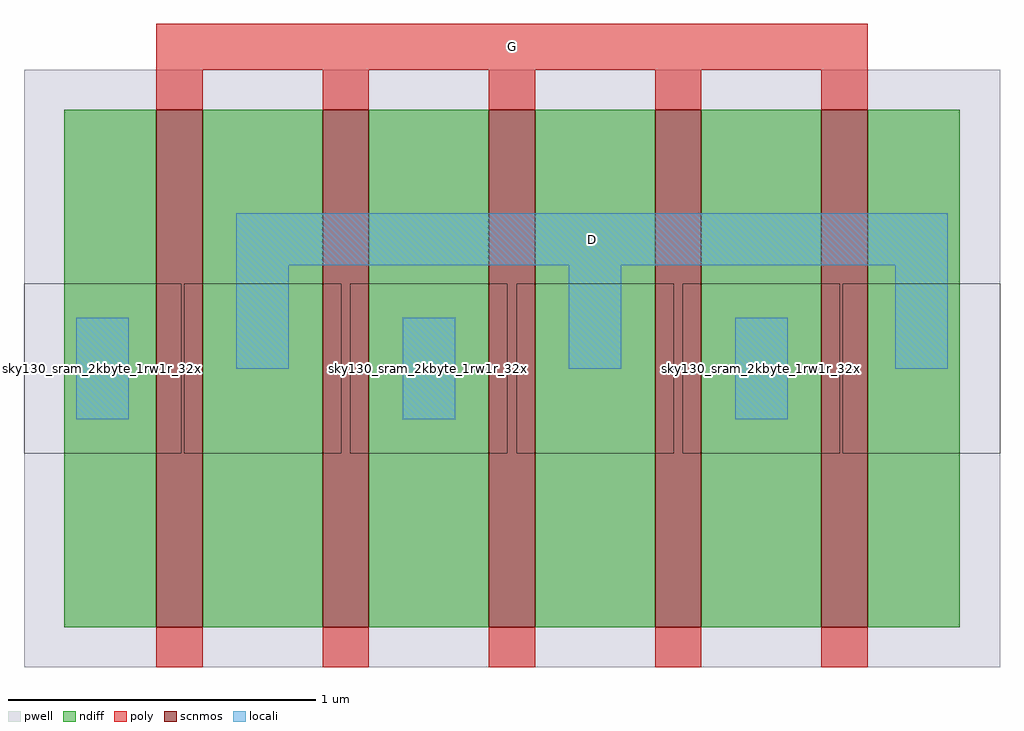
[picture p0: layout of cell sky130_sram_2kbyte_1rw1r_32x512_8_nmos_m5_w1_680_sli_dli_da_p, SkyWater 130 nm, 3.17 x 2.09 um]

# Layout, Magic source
magic
tech sky130A
magscale 1 2
<< pwell >>
rect -26 -26 608 362
<< scnmos >>
rect 60 0 90 336
rect 168 0 198 336
rect 276 0 306 336
rect 384 0 414 336
rect 492 0 522 336
<< ndiff >>
rect 0 0 60 336
rect 90 0 168 336
rect 198 0 276 336
rect 306 0 384 336
rect 414 0 492 336
rect 522 0 582 336
<< poly >>
rect 60 362 522 392
rect 60 336 90 362
rect 168 336 198 362
rect 276 336 306 362
rect 384 336 414 362
rect 492 336 522 362
rect 60 -26 90 0
rect 168 -26 198 0
rect 276 -26 306 0
rect 384 -26 414 0
rect 492 -26 522 0
<< locali >>
rect 112 235 574 269
rect 8 135 42 201
rect 112 168 146 235
rect 220 135 254 201
rect 328 168 362 235
rect 436 135 470 201
rect 540 168 574 235
use sky130_sram_2kbyte_1rw1r_32x512_8_contact_11  sky130_sram_2kbyte_1rw1r_32x512_8_contact_11_5
transform 1 0 0 0 1 135
box -26 -22 76 88
use sky130_sram_2kbyte_1rw1r_32x512_8_contact_11  sky130_sram_2kbyte_1rw1r_32x512_8_contact_11_4
transform 1 0 104 0 1 135
box -26 -22 76 88
use sky130_sram_2kbyte_1rw1r_32x512_8_contact_11  sky130_sram_2kbyte_1rw1r_32x512_8_contact_11_3
transform 1 0 212 0 1 135
box -26 -22 76 88
use sky130_sram_2kbyte_1rw1r_32x512_8_contact_11  sky130_sram_2kbyte_1rw1r_32x512_8_contact_11_2
transform 1 0 320 0 1 135
box -26 -22 76 88
use sky130_sram_2kbyte_1rw1r_32x512_8_contact_11  sky130_sram_2kbyte_1rw1r_32x512_8_contact_11_1
transform 1 0 428 0 1 135
box -26 -22 76 88
use sky130_sram_2kbyte_1rw1r_32x512_8_contact_11  sky130_sram_2kbyte_1rw1r_32x512_8_contact_11_0
transform 1 0 532 0 1 135
box -26 -22 76 88
<< labels >>
rlabel locali s 453 168 453 168 4 S
rlabel locali s 237 168 237 168 4 S
rlabel locali s 25 168 25 168 4 S
rlabel locali s 343 252 343 252 4 D
rlabel poly s 291 377 291 377 4 G
<< properties >>
string FIXED_BBOX -25 -26 607 392
<< end >>
